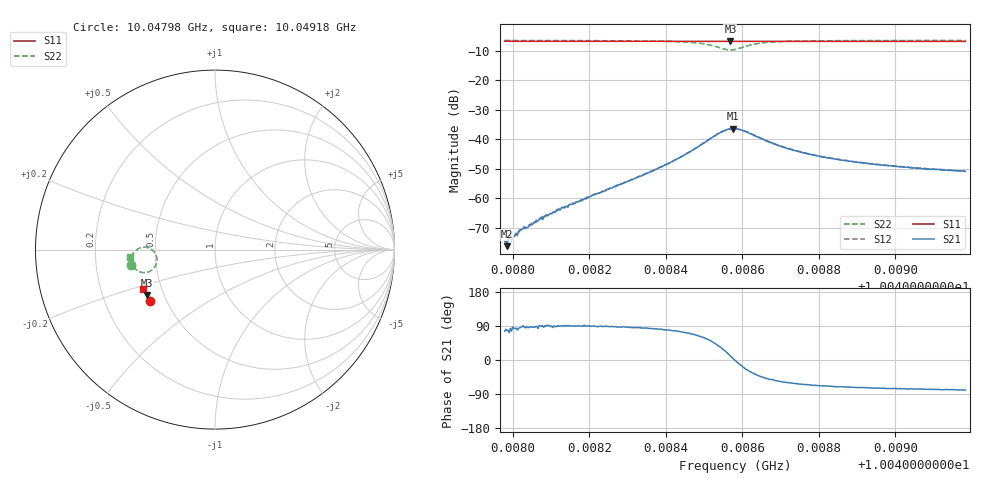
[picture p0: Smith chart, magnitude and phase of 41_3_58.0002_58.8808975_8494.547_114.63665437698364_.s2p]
#  HZ  S  RI  R  50.00
! Rohde & Schwarz Vector Network Analyzer
! Rohde-Schwarz,ZNB20-2Port,1311601062101988,3.16
! Created: UTC 3/21/2024, 12:52:06 AM
! freq[Hz]  re:S11  im:S11  re:S21  im:S21  re:S12  im:S12  re:S22  im:S22
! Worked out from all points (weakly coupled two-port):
!   401 points, 10.04798 GHz to 10.04918 GHz, reference 50 ohm
!   highest |S21| = -36.31 dB at 10.04857 GHz (marker M1); lowest = -76.2 dB at 10.04798 GHz (marker M2)
!   lowest |S11| = -6.8 dB at 10.04857 GHz (marker M3), VSWR 2.68, Z = 20.1 - j12.8 ohm
!   |S11| at or under -10 dB: nowhere
!   |S22| runs from -9.7 to -6.5 dB; largest |S21 - S12| = 0.0012
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1.0047978e10  -0.36 -0.2857  4.67e-05 0.000183  2.59e-05 0.000166  -0.4662 -0.0873
1.0047984e10  -0.36 -0.2854  3.38e-05 0.000152  3.55e-05 0.000181  -0.4663 -0.0866
1.0048002e10  -0.3609 -0.2845  2.62e-05 0.000237  1.69e-06 0.000226  -0.4664 -0.085
1.0048023e10  -0.3617 -0.2834  1.41e-05 0.000295  6.9e-06 0.000314  -0.4666 -0.083
1.0048038e10  -0.3622 -0.2825  2.62e-05 0.00032  -2.6e-05 0.000337  -0.4666 -0.0816
1.0048057e10  -0.3631 -0.2814  2.12e-05 0.000386  9.1e-06 0.000392  -0.4669 -0.0799
1.0048132e10  -0.366 -0.2776  1.48e-05 0.000695  -5.24e-05 0.000707  -0.4673 -0.0722
1.004818e10  -0.3678 -0.2748  5.67e-06 0.000918  -4.34e-05 0.000951  -0.4673 -0.0666
1.0048382e10  -0.3754 -0.2635  0.00051 0.00329  0.000293 0.00328  -0.4607 -0.0318
1.0048448e10  -0.3778 -0.2595  0.00157 0.0052  0.00132 0.00533  -0.4473 -0.0104
1.004852e10  -0.3797 -0.2551  0.0071 0.00805  0.00657 0.00846  -0.3902 0.0132
1.0048547e10  -0.3803 -0.2536  0.0117 0.00675  0.0113 0.00753  -0.347 -0.00457
1.0048569e10  -0.3805 -0.2527  0.0148 0.00273  0.0146 0.00369  -0.3241 -0.0454
1.0048575e10  -0.3809 -0.2527  0.0152 0.00132  0.015 0.00239  -0.3233 -0.0597
1.0048581e10  -0.3809 -0.2523  0.0152 -0.000253  0.0152 0.000905  -0.3252 -0.0737
1.0048614e10  -0.3822 -0.2512  0.0117 -0.00588  0.0122 -0.00507  -0.3665 -0.1228
1.0048656e10  -0.3842 -0.2491  0.00689 -0.00722  0.00723 -0.00679  -0.416 -0.1253
1.0048713e10  -0.3865 -0.2458  0.0037 -0.00613  0.00414 -0.00599  -0.4454 -0.1073
1.0048782e10  -0.389 -0.2417  0.00221 -0.00503  0.00251 -0.00492  -0.459 -0.0895
1.0048861e10  -0.3917 -0.2372  0.00146 -0.00419  0.00175 -0.00417  -0.4654 -0.0754
1.0048984e10  -0.3959 -0.23  0.000909 -0.00349  0.00116 -0.00343  -0.47 -0.0589
1.0049183e10  -0.402 -0.2183  0.000531 -0.00282  0.0007 -0.00279  -0.473 -0.0393
